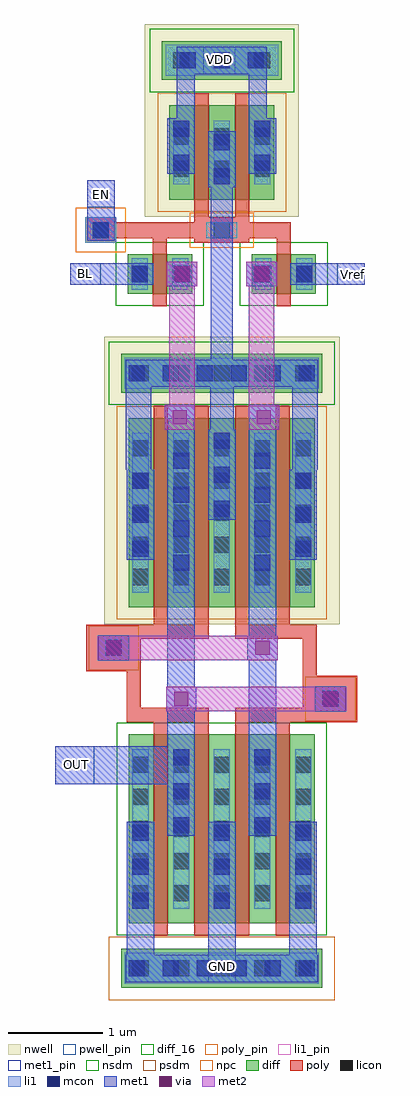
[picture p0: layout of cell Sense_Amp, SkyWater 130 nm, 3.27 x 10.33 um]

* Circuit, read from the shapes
.subckt Sense_Amp BL EN GND OUT VDD Vref
XM1 OUT EN BL nmos_CDNS_714476945800_0/b sky130_fd_pr__nfet_01v8 w=0.42 l=0.15
XM2 OUT nmos_CDNS_714476945800_0/s GND nmos_CDNS_714476945800_0/b sky130_fd_pr__nfet_01v8 w=2 l=0.15 m=2
XM3 nmos_CDNS_714476945800_0/s OUT GND nmos_CDNS_714476945800_0/b sky130_fd_pr__nfet_01v8 w=2 l=0.15 m=2
XM4 Vref EN nmos_CDNS_714476945800_0/s nmos_CDNS_714476945800_0/b sky130_fd_pr__nfet_01v8 w=0.42 l=0.15
XM5 OUT nmos_CDNS_714476945800_0/s pmos_CDNS_714476945801_2/d n1 sky130_fd_pr__pfet_01v8 w=2 l=0.15 m=2
XM6 pmos_CDNS_714476945801_2/d EN VDD n2 sky130_fd_pr__pfet_01v8 w=1 l=0.15 m=2
XM7 nmos_CDNS_714476945800_0/s OUT pmos_CDNS_714476945801_2/d n1 sky130_fd_pr__pfet_01v8 w=2 l=0.15 m=2
.ends

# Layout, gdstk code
from math import pi, radians
import gdstk
lib = gdstk.Library(unit=1e-6, precision=1e-09)
def R(c, l, rs):  # rectangles x0, y0, x1, y1
    for r in rs: c.add(gdstk.rectangle(r[:2], r[2:], *l))
def A(c, l, x, y, w, h, nx, ny, dx, dy):  # array of equal rectangles
    R(c, l, [(x+i*dx, y+j*dy, x+i*dx+w, y+j*dy+h) for i in range(nx) for j in range(ny)])
nwell = (64, 20)
diff_16 = (65, 16)
diff = (65, 20)
poly_pin = (66, 16)
poly = (66, 20)
licon = (66, 44)
li1_pin = (67, 16)
li1 = (67, 20)
mcon = (67, 44)
met1_pin = (68, 16)
met1 = (68, 20)
via = (68, 44)
met2 = (69, 20)
nsdm = (93, 44)
psdm = (94, 20)
npc = (95, 20)
pwell_pin = (122, 16)

nmos_cdns_714476945800 = lib.new_cell('nmos_CDNS_714476945800')
R(nmos_cdns_714476945800, diff_16, [(-0.265,0,0,0.42), (0.15,0,0.415,0.42)])
R(nmos_cdns_714476945800, diff, [(-0.265,0,0.415,0.42)])
R(nmos_cdns_714476945800, poly_pin, [(0,-0.13,0.15,0), (0,0.42,0.15,0.55)])
R(nmos_cdns_714476945800, poly, [(0,-0.13,0.15,0.55)])
R(nmos_cdns_714476945800, licon, [(-0.225,0.125,-0.055,0.295), (0.205,0.125,0.375,0.295)])
R(nmos_cdns_714476945800, nsdm, [(-0.39,-0.125,0.54,0.545)])
R(nmos_cdns_714476945800, pwell_pin, [(-0.265,0,0.415,0.42)])
nmos_cdns_714476945800.add(gdstk.FlexPath([(0.29,0.045),(0.29,0.375)], 0.17, ends="flush", simple_path=True, layer=67, datatype=20))  # li1
nmos_cdns_714476945800.add(gdstk.FlexPath([(-0.14,0.045),(-0.14,0.375)], 0.17, ends="flush", simple_path=True, layer=67, datatype=20))  # li1
nmos_cdns_714476945800.add(gdstk.Label('d', (0.282,0.21), layer=65, texttype=6))
nmos_cdns_714476945800.add(gdstk.Label('s', (-0.133,0.21), layer=65, texttype=6))
nmos_cdns_714476945800.add(gdstk.Label('g', (0.075,-0.065), layer=66, texttype=5))
nmos_cdns_714476945800.add(gdstk.Label('g', (0.075,0.485), layer=66, texttype=5))
nmos_cdns_714476945800.add(gdstk.Label('b', (0.075,0.21), layer=64, texttype=59))

pmos_cdns_714476945801 = lib.new_cell('pmos_CDNS_714476945801')
R(pmos_cdns_714476945801, nwell, [(-0.525,-0.18,1.105,1.86)])
R(pmos_cdns_714476945801, diff_16, [(-0.265,0,0,1), (0.15,0,0.43,1), (0.58,0,0.845,1)])
R(pmos_cdns_714476945801, diff, [(-0.265,0,0.845,1)])
R(pmos_cdns_714476945801, poly, [(0,-0.455,0.58,-0.185), (0,-0.185,0.15,-0.13), (0.43,-0.185,0.58,-0.13), (0,-0.13,0.15,1.13), (0.43,-0.13,0.58,1.13)])
A(pmos_cdns_714476945801, licon, -0.225, 0.245, 0.17, 0.17, 3, 2, 0.43, 0.34)
A(pmos_cdns_714476945801, licon, -0.225, 1.39, 0.17, 0.17, 3, 1, 0.43, 0)
R(pmos_cdns_714476945801, licon, [(0.205,-0.405,0.375,-0.235)])
R(pmos_cdns_714476945801, li1_pin, [(0.125,-0.405,0.455,-0.235), (-0.305,1.31,0.885,1.64)])
R(pmos_cdns_714476945801, psdm, [(-0.39,-0.125,0.97,1.125)])
R(pmos_cdns_714476945801, npc, [(-0.05,-0.505,0.63,-0.135)])
pmos_cdns_714476945801.add(gdstk.FlexPath([(-0.345,1.475),(0.925,1.475)], 0.41, ends="flush", simple_path=True, layer=65, datatype=20))  # diff
pmos_cdns_714476945801.add(gdstk.FlexPath([(0.72,0.165),(0.72,0.835)], 0.17, ends="flush", simple_path=True, layer=67, datatype=20))  # li1
pmos_cdns_714476945801.add(gdstk.FlexPath([(0.29,0.165),(0.29,0.835)], 0.17, ends="flush", simple_path=True, layer=67, datatype=20))  # li1
pmos_cdns_714476945801.add(gdstk.FlexPath([(-0.14,0.165),(-0.14,0.835)], 0.17, ends="flush", simple_path=True, layer=67, datatype=20))  # li1
pmos_cdns_714476945801.add(gdstk.FlexPath([(-0.305,1.475),(0.885,1.475)], 0.33, ends="flush", simple_path=True, layer=67, datatype=20))  # li1
pmos_cdns_714476945801.add(gdstk.FlexPath([(0.125,-0.32),(0.455,-0.32)], 0.17, ends="flush", simple_path=True, layer=67, datatype=20))  # li1
pmos_cdns_714476945801.add(gdstk.FlexPath([(-0.475,1.475),(1.055,1.475)], 0.67, ends="flush", simple_path=True, layer=93, datatype=44))  # nsdm
pmos_cdns_714476945801.add(gdstk.Label('s', (0.712,0.5), layer=65, texttype=6))
pmos_cdns_714476945801.add(gdstk.Label('d', (0.29,0.5), layer=65, texttype=6))
pmos_cdns_714476945801.add(gdstk.Label('s', (-0.133,0.5), layer=65, texttype=6))
pmos_cdns_714476945801.add(gdstk.Label('b', (0.29,1.475), layer=67, texttype=5))
pmos_cdns_714476945801.add(gdstk.Label('g', (0.29,-0.32), layer=67, texttype=5))

m1m2_cdns_714476945800 = lib.new_cell('M1M2_CDNS_714476945800')
R(m1m2_cdns_714476945800, met1, [(-0.16,-0.13,0.16,0.13)])
R(m1m2_cdns_714476945800, via, [(-0.075,-0.075,0.075,0.075)])
R(m1m2_cdns_714476945800, met2, [(-0.16,-0.13,0.16,0.13)])

pyl1_cdns_714476945801 = lib.new_cell('PYL1_CDNS_714476945801')
R(pyl1_cdns_714476945801, poly, [(-0.165,-0.135,0.165,0.135)])
R(pyl1_cdns_714476945801, licon, [(-0.085,-0.085,0.085,0.085)])
R(pyl1_cdns_714476945801, li1, [(-0.165,-0.135,0.165,0.135)])
R(pyl1_cdns_714476945801, npc, [(-0.265,-0.235,0.265,0.235)])

l1m1_cdns_714476945802 = lib.new_cell('L1M1_CDNS_714476945802')
R(l1m1_cdns_714476945802, li1, [(-0.085,-0.085,0.085,0.085)])
R(l1m1_cdns_714476945802, mcon, [(-0.085,-0.085,0.085,0.085)])
R(l1m1_cdns_714476945802, met1, [(-0.145,-0.115,0.145,0.115)])

l1m1_cdns_714476945803 = lib.new_cell('L1M1_CDNS_714476945803')
R(l1m1_cdns_714476945803, li1, [(-0.085,-0.445,0.085,0.445)])
A(l1m1_cdns_714476945803, mcon, -0.085, -0.445, 0.17, 0.17, 1, 3, 0, 0.36)
R(l1m1_cdns_714476945803, met1, [(-0.145,-0.475,0.145,0.475)])

l1m1_cdns_714476945804 = lib.new_cell('L1M1_CDNS_714476945804')
R(l1m1_cdns_714476945804, li1, [(-0.085,-0.985,0.085,0.985)])
A(l1m1_cdns_714476945804, mcon, -0.085, -0.985, 0.17, 0.17, 1, 6, 0, 0.36)
R(l1m1_cdns_714476945804, met1, [(-0.145,-1.015,0.145,1.015)])

l1m1_cdns_714476945805 = lib.new_cell('L1M1_CDNS_714476945805')
R(l1m1_cdns_714476945805, li1, [(-0.085,-0.625,0.085,0.625)])
A(l1m1_cdns_714476945805, mcon, -0.085, -0.625, 0.17, 0.17, 1, 4, 0, 0.36)
R(l1m1_cdns_714476945805, met1, [(-0.145,-0.655,0.145,0.655)])

l1m1_cdns_714476945806 = lib.new_cell('L1M1_CDNS_714476945806')
R(l1m1_cdns_714476945806, li1, [(-0.085,-0.265,0.085,0.265)])
R(l1m1_cdns_714476945806, mcon, [(-0.085,-0.265,0.085,-0.095), (-0.085,0.095,0.085,0.265)])
R(l1m1_cdns_714476945806, met1, [(-0.145,-0.295,0.145,0.295)])

sense_amp = lib.new_cell('Sense_Amp')
R(sense_amp, nwell, [(1.835,4.765,4.325,7.805)])
A(sense_amp, diff_16, 2.51, 1.6, 0.28, 2, 3, 2, 0.43, 3.345)
R(sense_amp, diff_16, [(2.095,1.6,2.36,3.6), (3.8,1.6,4.065,3.6), (2.095,4.945,2.36,6.945), (3.8,4.945,4.065,6.945)])
R(sense_amp, diff, [(2.095,1.6,4.065,3.6), (2.095,4.945,4.065,6.945)])
A(sense_amp, poly, 2.36, 1.47, 0.15, 2.26, 4, 2, 0.43, 3.345)
A(sense_amp, poly, 2.36, 4.76, 0.15, 0.055, 4, 1, 0.43, 0)
R(sense_amp, poly, [(2.075,3.73,2.225,4.27), (2.225,3.73,2.94,3.88), (3.22,3.73,3.935,3.88), (3.935,3.73,4.085,4.27), (3.935,3.73,4.515,4.22), (3.935,4.22,4.085,4.76), (1.645,4.27,2.225,4.76), (2.225,4.61,2.94,4.76), (3.22,4.61,3.935,4.76), (2.35,8.81,2.5,9.01), (3.66,8.81,3.81,9.02), (1.635,8.85,3.66,9.02)])
A(sense_amp, licon, 2.135, 1.04, 0.17, 0.17, 5, 2, 0.43, 0.795)
A(sense_amp, licon, 2.135, 2.175, 0.17, 0.17, 5, 4, 0.43, 0.34)
A(sense_amp, licon, 2.135, 5.18, 0.17, 0.17, 5, 5, 0.43, 0.34)
A(sense_amp, licon, 2.135, 7.335, 0.17, 0.17, 5, 1, 0.43, 0)
R(sense_amp, li1_pin, [(2.055,0.96,4.105,1.29), (2.055,7.255,4.105,7.585)])
R(sense_amp, met1_pin, [(2.935,0.98,3.225,1.27), (1.32,3.075,1.73,3.475), (1.475,8.355,1.8,8.585), (4.3,8.355,4.59,8.585), (1.655,9.175,1.945,9.46), (2.885,10.585,3.22,10.875)])
A(sense_amp, met1, 2.075, 1.27, 0.29, 0.455, 3, 1, 0.86, 0)
R(sense_amp, met1, [(1.32,3.075,2.505,3.475), (2.505,3.475,2.795,5.3), (3.365,3.475,3.655,5.3), (2.065,6.4,2.335,6.82), (3.825,6.4,4.095,6.82), (2.505,6.61,2.795,7.085), (3.365,6.61,3.655,7.085), (2.065,6.82,2.335,7.275), (2.955,6.82,3.205,7.275), (3.825,6.82,4.095,7.275), (2.965,7.565,3.195,9.39), (1.475,8.355,2.065,8.585), (4.095,8.355,4.59,8.585), (1.655,9.05,1.945,9.46), (2.605,10.12,2.795,10.585), (3.365,10.12,3.555,10.585)])
R(sense_amp, met2, [(2.81,3.845,4.07,4.105), (2.095,4.385,3.35,4.645), (2.525,7.085,2.795,8.34), (3.365,7.085,3.635,8.34)])
R(sense_amp, nsdm, [(1.97,1.475,4.19,3.725)])
R(sense_amp, psdm, [(1.97,4.82,4.19,7.07)])
sense_amp.add(gdstk.FlexPath([(2.015,1.125),(4.145,1.125)], 0.41, ends="flush", simple_path=True, layer=65, datatype=20))  # diff
sense_amp.add(gdstk.FlexPath([(2.015,7.42),(4.145,7.42)], 0.41, ends="flush", simple_path=True, layer=65, datatype=20))  # diff
sense_amp.add(gdstk.FlexPath([(1.885,7.42),(4.275,7.42)], 0.67, ends="flush", simple_path=True, layer=93, datatype=44))  # nsdm
sense_amp.add(gdstk.FlexPath([(2.055,1.125),(4.105,1.125)], 0.33, ends="flush", simple_path=True, layer=67, datatype=20))  # li1
sense_amp.add(gdstk.FlexPath([(2.65,5.1),(2.65,6.79)], 0.17, ends="flush", simple_path=True, layer=67, datatype=20))  # li1
sense_amp.add(gdstk.FlexPath([(2.22,1.755),(2.22,3.445)], 0.17, ends="flush", simple_path=True, layer=67, datatype=20))  # li1
sense_amp.add(gdstk.FlexPath([(2.65,1.755),(2.65,3.445)], 0.17, ends="flush", simple_path=True, layer=67, datatype=20))  # li1
sense_amp.add(gdstk.FlexPath([(3.08,1.755),(3.08,3.445)], 0.17, ends="flush", simple_path=True, layer=67, datatype=20))  # li1
sense_amp.add(gdstk.FlexPath([(3.94,1.755),(3.94,3.445)], 0.17, ends="flush", simple_path=True, layer=67, datatype=20))  # li1
sense_amp.add(gdstk.FlexPath([(2.055,7.42),(4.105,7.42)], 0.33, ends="flush", simple_path=True, layer=67, datatype=20))  # li1
sense_amp.add(gdstk.FlexPath([(3.94,5.1),(3.94,6.79)], 0.17, ends="flush", simple_path=True, layer=67, datatype=20))  # li1
sense_amp.add(gdstk.FlexPath([(3.51,5.1),(3.51,6.79)], 0.17, ends="flush", simple_path=True, layer=67, datatype=20))  # li1
sense_amp.add(gdstk.FlexPath([(3.08,5.1),(3.08,6.79)], 0.17, ends="flush", simple_path=True, layer=67, datatype=20))  # li1
sense_amp.add(gdstk.FlexPath([(2.22,5.1),(2.22,6.79)], 0.17, ends="flush", simple_path=True, layer=67, datatype=20))  # li1
sense_amp.add(gdstk.FlexPath([(3.51,1.755),(3.51,3.445)], 0.17, ends="flush", simple_path=True, layer=67, datatype=20))  # li1
sense_amp.add(gdstk.FlexPath([(1.885,1.125),(4.275,1.125)], 0.67, ends="flush", simple_path=True, layer=94, datatype=20))  # psdm
sense_amp.add(gdstk.Reference(nmos_cdns_714476945800, (3.66,8.26)))
sense_amp.add(gdstk.Reference(nmos_cdns_714476945800, (2.35,8.26)))
sense_amp.add(gdstk.Reference(pmos_cdns_714476945801, (2.79,9.255)))
sense_amp.add(gdstk.Reference(m1m2_cdns_714476945800, (3.525,6.955)))
sense_amp.add(gdstk.Reference(m1m2_cdns_714476945800, (2.635,6.955)))
sense_amp.add(gdstk.Reference(m1m2_cdns_714476945800, (3.5,8.47)))
sense_amp.add(gdstk.Reference(m1m2_cdns_714476945800, (2.66,8.47)))
sense_amp.add(gdstk.Reference(m1m2_cdns_714476945800, (2.65,3.975)))
sense_amp.add(gdstk.Reference(m1m2_cdns_714476945800, (4.23,3.975)))
sense_amp.add(gdstk.Reference(m1m2_cdns_714476945800, (3.51,4.515)))
sense_amp.add(gdstk.Reference(m1m2_cdns_714476945800, (1.935,4.515)))
sense_amp.add(gdstk.Reference(pyl1_cdns_714476945801, (1.8,8.935)))
sense_amp.add(gdstk.Reference(pyl1_cdns_714476945801, (4.23,3.975)))
sense_amp.add(gdstk.Reference(pyl1_cdns_714476945801, (1.935,4.515)))
sense_amp.add(gdstk.Reference(l1m1_cdns_714476945802, (3.95,8.47)))
sense_amp.add(gdstk.Reference(l1m1_cdns_714476945802, (2.21,8.47)))
sense_amp.add(gdstk.Reference(l1m1_cdns_714476945802, (1.8,8.935)))
sense_amp.add(gdstk.Reference(l1m1_cdns_714476945802, (3.5,8.47)))
sense_amp.add(gdstk.Reference(l1m1_cdns_714476945802, (2.66,8.47)))
sense_amp.add(gdstk.Reference(l1m1_cdns_714476945802, (4.23,3.975)))
sense_amp.add(gdstk.Reference(l1m1_cdns_714476945802, (1.935,4.515)))
sense_amp.add(gdstk.Reference(l1m1_cdns_714476945803, (3.08,10.73), rotation=pi/2))
sense_amp.add(gdstk.Reference(l1m1_cdns_714476945803, (3.51,3)))
sense_amp.add(gdstk.Reference(l1m1_cdns_714476945803, (2.65,3)))
sense_amp.add(gdstk.Reference(l1m1_cdns_714476945803, (2.22,5.925)))
sense_amp.add(gdstk.Reference(l1m1_cdns_714476945803, (3.94,5.925)))
sense_amp.add(gdstk.Reference(l1m1_cdns_714476945803, (3.08,6.345)))
sense_amp.add(gdstk.Reference(l1m1_cdns_714476945803, (3.94,2.2)))
sense_amp.add(gdstk.Reference(l1m1_cdns_714476945803, (2.22,2.2)))
sense_amp.add(gdstk.Reference(l1m1_cdns_714476945803, (3.08,2.2)))
sense_amp.add(gdstk.Reference(l1m1_cdns_714476945804, (3.08,7.42), rotation=pi/2))
sense_amp.add(gdstk.Reference(l1m1_cdns_714476945804, (3.08,1.125), rotation=pi/2))
sense_amp.add(gdstk.Reference(l1m1_cdns_714476945805, (2.65,5.955)))
sense_amp.add(gdstk.Reference(l1m1_cdns_714476945805, (3.51,5.955)))
sense_amp.add(gdstk.Reference(l1m1_cdns_714476945806, (3.51,9.825)))
sense_amp.add(gdstk.Reference(l1m1_cdns_714476945806, (2.65,9.825)))
sense_amp.add(gdstk.Reference(l1m1_cdns_714476945806, (3.08,9.685)))
sense_amp.add(gdstk.Label('OUT', (1.54,3.28), layer=68, texttype=5))
sense_amp.add(gdstk.Label('Vref', (4.465,8.47), layer=68, texttype=5))
sense_amp.add(gdstk.Label('BL', (1.64,8.475), layer=68, texttype=5))
sense_amp.add(gdstk.Label('EN', (1.81,9.315), layer=68, texttype=5))
sense_amp.add(gdstk.Label('VDD', (3.055,10.74), layer=68, texttype=5))
sense_amp.add(gdstk.Label('GND', (3.085,1.145), layer=68, texttype=5))

lib.write_gds('Sense_Amp.gds')
